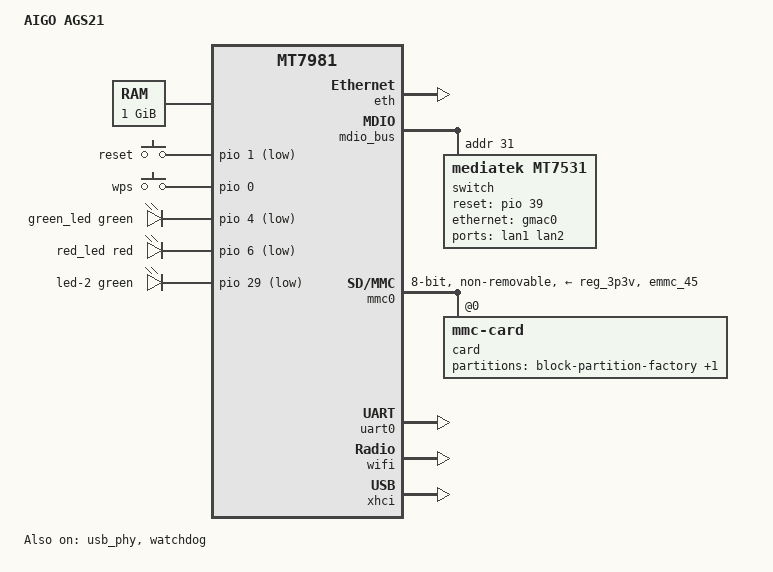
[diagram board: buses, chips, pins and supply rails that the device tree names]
// SPDX-License-Identifier: GPL-2.0-or-later OR MIT
/*
 * 爱国者 AIGO AGS21  (MT7981B + 1GB DDR4 + 64GB eMMC)
 *
 * 硬件数据全部来自实机提取，见 ags21_backup/dts/original_ags21.dts（688 行完整反编译）
 * 与实测串口日志 ags21_openwrt/serial_boot.log。
 *
 * 放置位置：target/linux/mediatek/dts/mt7981b-aigo-ags21.dts
 *
 * 设计说明 —— 为什么是「单 DTS」而不是 base + overlay：
 *   官方 RAX3000M 用 base dts + emmc/nand 两个 dtso，是因为同一份镜像要同时支持
 *   eMMC 和 SPI-NAND 两种启动介质，U-Boot 按 bootconf 选 overlay。
 *   AGS21 只有 eMMC 一种介质，所以这里把 mmc0 / 分区 / nvmem 全部写进主 dts，
 *   生成的 FIT 只有一个配置节点 config-1，少一层不确定性。
 *
 *   代价：U-Boot 环境变量 bootconf 必须相应改掉（详见 build/README.md）。
 *   官方镜像的 bootconf 是 "config-1#mt7981b-cmcc-rax3000m-emmc"，
 *   本设备要设成 "config-1"。
 */

/dts-v1/;

#include <dt-bindings/gpio/gpio.h>
#include <dt-bindings/input/input.h>
#include <dt-bindings/leds/common.h>
#include <dt-bindings/pinctrl/mt65xx.h>

#include "mt7981b.dtsi"

/ {
	model = "AIGO AGS21";
	compatible = "aigo,ags21", "mediatek,mt7981";

	aliases {
		led-boot = &red_led;
		led-failsafe = &red_led;
		led-running = &green_led;
		led-upgrade = &green_led;
		serial0 = &uart0;
	};

	chosen: chosen {
		bootargs-override = "root=/dev/fit0 rootwait";
		stdout-path = "serial0:115200n8";
		/* fitblk 只认这里指向的分区里装的 FIT；官方 emmc.dtso 里就是这一句 */
		rootdisk = <&emmc_rootdisk>;
	};

	memory@40000000 {
		device_type = "memory";
		/* 实机 1 GB DDR4。切勿照抄 RAX3000M 的 0x20000000(512MB) */
		reg = <0 0x40000000 0 0x40000000>;
	};

	gpio-keys {
		compatible = "gpio-keys";

		button-reset {
			label = "reset";
			linux,code = <KEY_RESTART>;
			/* 原厂 <&pio 1 GPIO_ACTIVE_LOW> */
			gpios = <&pio 1 GPIO_ACTIVE_LOW>;
		};

		button-wps {
			label = "wps";
			linux,code = <KEY_WPS_BUTTON>;
			/* 原厂 <&pio 0 (flags=0)> = ACTIVE_HIGH；
			 * 注意与 RAX3000M 的 mesh 键(GPIO_ACTIVE_LOW)极性相反 */
			gpios = <&pio 0 GPIO_ACTIVE_HIGH>;
		};
	};

	gpio-leds {
		compatible = "gpio-leds";

		/* 原厂三个灯全部 ACTIVE_LOW */
		green_led: led-0 {
			function = LED_FUNCTION_STATUS;
			color = <LED_COLOR_ID_GREEN>;
			gpios = <&pio 4 GPIO_ACTIVE_LOW>;
		};

		red_led: led-1 {
			function = LED_FUNCTION_STATUS;
			color = <LED_COLOR_ID_RED>;
			gpios = <&pio 6 GPIO_ACTIVE_LOW>;
			/* 原厂 default-state = "on"，正好当 boot 指示 */
			default-state = "on";
		};

		led-2 {
			function = LED_FUNCTION_WAN;
			color = <LED_COLOR_ID_GREEN>;
			gpios = <&pio 29 GPIO_ACTIVE_LOW>;
		};
	};
};

&eth {
	status = "okay";

	/* gmac0 -> MT7531 的 CPU 口，2500base-x 内部固定链路 */
	gmac0: mac@0 {
		compatible = "mediatek,eth-mac";
		reg = <0>;
		phy-mode = "2500base-x";
		nvmem-cells = <&macaddr_factory_2a 0>;
		nvmem-cell-names = "mac-address";

		fixed-link {
			speed = <2500>;
			full-duplex;
			pause;
		};
	};

	/* gmac1 -> SoC 内置 GbE PHY = WAN（同官方 RAX3000M）
	 *
	 * factory 分区实测布局（与官方 emmc.dtso 的 nvmem 映射一字不差，
	 * 所以换系统后 MAC 不会变随机）：
	 *   （本仓库是公开的，下面把 MAC 正文打码，只保留偏移与用途的对应关系；
	 *     dts 本身只引用 0x24 / 0x2a 两个偏移，不依赖这里的字面值。）
	 *   0x04 = xx:xx:xx:xx:xx:X2  机身标签
	 *   0x24 = xx:xx:xx:xx:xx:X0  WAN  -> gmac1
	 *   0x2a = xx:xx:xx:xx:xx:X1  LAN  -> gmac0
	 *   0x30 = xx:xx:xx:xx:xx:X3  5G
	 *   X0..X3 是厂商预置的连续四个 MAC（X0 为基准，就放在 0x24）：
	 *   机身标签 = X2、WAN = X0、LAN = X1、5G = X3。
	 *
	 * 这里刻意不写 openwrt,netdev-name，保持网卡名 eth0/eth1，
	 * 这样 02_network 可以直接写 "eth1" 当 wan（与官方一致）。
	 */
	gmac1: mac@1 {
		compatible = "mediatek,eth-mac";
		reg = <1>;
		phy-mode = "gmii";
		nvmem-cells = <&macaddr_factory_24 0>;
		nvmem-cell-names = "mac-address";
		phy-handle = <&int_gbe_phy>;
	};
};

&mdio_bus {
	switch: switch@1f {
		compatible = "mediatek,mt7531";
		reg = <31>;
		reset-gpios = <&pio 39 GPIO_ACTIVE_HIGH>;
		/* 原厂 DTS 未给 switch 配中断 -> AGS21 上 MT7531 的 INT 可能没接，
		 * 所以这里也刻意不声明 interrupt-controller，与厂商一致。
		 * 若实测 GPIO38 有中断，再补：
		 *   interrupt-controller;
		 *   #interrupt-cells = <1>;
		 *   interrupt-parent = <&pio>;
		 *   interrupts = <38 IRQ_TYPE_LEVEL_HIGH>;
		 */
	};
};

&switch {
	ports {
		#address-cells = <1>;
		#size-cells = <0>;

		/* 网口命名 —— 已实测定稿（2026-10-13）
		 *
		 * 机身只有 1 个 WAN + 2 个 LAN，面板丝印是 WAN / LAN1 / LAN2。
		 * 命名原则：网卡名对齐面板丝印。上游同芯片的 rax3000m 就是这么做的 ——
		 * 它的 dts 里 port@0/1/2 故意写成 lan3/lan2/lan1，说明「label 要和丝印对上」
		 * 才是约定，「label = PHY 号 + 1」不是。
		 *
		 *   * WAN  = gmac1 + SoC 内置 GbE PHY（mdio 地址 0），网卡名 eth1。
		 *     本机刻意不给 gmac1 加 label，保持 eth1，与官方 RAX3000M 一致。
		 *     （改名机制是 filogic 的 lib/preinit/04_set_netdev_label：给 gmac 节点
		 *      加 label 或 openwrt,netdev-name 就会 ip link set 改名，本机不用。）
		 *   * LAN1 = 面板 LAN1 = MT7531 PHY1 = 下面 port@1
		 *   * LAN2 = 面板 LAN2 = MT7531 PHY2 = 下面 port@2
		 *
		 * 实测证据（可复现）：
		 *   第一版固件的 label 是「reg + 1」（lan1..lan4 = PHY0..PHY3），
		 *   轮询 /sys/class/net 下各网口的 carrier 依次插线：
		 *     12:07 lan2(PHY1) 亮，12:08 lan3(PHY2) 亮，lan1(PHY0)/lan4(PHY3) 全程 0
		 *     dmesg: lan2 (uninitialized): PHY [mt7530-0:01]
		 *            lan3 (uninitialized): PHY [mt7530-0:02]
		 *   ⇒ 两个活口就是 MT7531 的 PHY1 / PHY2（DSA 用户口与 PHY 一一对应）。
		 *   再把网线插到面板 LAN1 口（当时 label 还是 lan2/lan3）：
		 *     亮起的是 lan2 = PHY1  →  面板 LAN1 就是 PHY1
		 *     dmesg: mdio-bus:1f lan2: Link is Up - 10Mbps/Full → 1Gbps/Full
		 *   ⇒ 面板 LAN1/LAN2 与 PHY1/PHY2 同序 ⇒ 是「整体减一」的改名，不是对调。
		 *
		 * 两个坑，别再踩：
		 *   1. 原厂 /etc/board.d/02_network 兜底分支写的是 "lan4 lan3 lan2" + iptv_port，
		 *      那是 MTK 参考板（mediatek,mt7981-emmc-rfb）的通用值，照抄会把不存在
		 *      的口桥进 br-lan。本机的对口定义在 build/build-ags21.sh 的 02_network
		 *      补丁里，改名时两边必须一起改。
		 *      另外 /etc/config/network 只在「不存在或为空」时由 board.d 生成
		 *      （见 bin/config_generate 末尾的 if [ ! -s /etc/config/network ]），
		 *      所以升级时保留下来的 ports='lan2' 'lan3' 不会自动跟着改名，
		 *      由随固件带的 /etc/uci-defaults/99-ags21-port-rename 迁移。
		 *   2. mdio 总线上只有 mt7530-0:00..03 四个 PHY，没有 2.5G PHY 芯片 ——
		 *      官方 RAX3000M 那颗 airoha,an8855 在本机不存在，所以本机没有 2.5G 口。
		 */
		port@1 {
			reg = <1>;
			label = "lan1";
		};

		port@2 {
			reg = <2>;
			label = "lan2";
		};

		/* CPU 口 */
		port@6 {
			reg = <6>;
			ethernet = <&gmac0>;
			phy-mode = "2500base-x";

			fixed-link {
				speed = <2500>;
				full-duplex;
				pause;
			};
		};
	};
};

&mmc0 {
	#address-cells = <1>;
	#size-cells = <0>;
	bus-width = <8>;
	/* 第一版固件沿用官方 RAX3000M 的保守值，先保证一定能起来。
	 * 原厂 dts 用的是 0x632EA00 = 104 MHz（配 cap-mmc-highspeed +
	 * mmc-hs200-1_8v + 自己的 drive-strength/pull-up 引脚配置）。
	 * 等第一版启动验证通过，再把这里改成 104000000 复测。
	 */
	max-frequency = <26000000>;
	no-sd;
	no-sdio;
	non-removable;
	pinctrl-names = "default", "state_uhs";
	pinctrl-0 = <&mmc0_pins_default>;
	pinctrl-1 = <&mmc0_pins_uhs>;
	/* 这一行不能少！
	 * 缺了它 mtk-sd 就用驱动里那套默认 ocr_avail(2.8~3.3V)，而 eMMC 报的是
	 * 3.3~3.4V，mmc_select_voltage() 交集为空 -> 内核直接打
	 *   mtk-msdc 11230000.mmc: no support for card's volts
	 *   mmc0: error -22 whilst initialising MMC card
	 *   mmc0: Failed to initialize a non-removable card
	 * 然后 rootfs 永远挂不上（Waiting for root device /dev/fit0）。
	 * 第一版固件就是漏了这行，实机实测到上述报错。官方 emmc.dtso 的
	 * fragment@3 里同样有 vmmc-supply = <&reg_3p3v>。
	 * reg_3p3v 由补丁 117 的 mt7981b.dtsi 提供（3.3V fixed regulator）。
	 */
	vmmc-supply = <&reg_3p3v>;
	status = "okay";

	card@0 {
		compatible = "mmc-card";
		reg = <0>;

		block {
			compatible = "block-device";

			partitions {
				/* WiFi 校准 EEPROM：实机位于 factory 分区偏移 0，
				 * 首 4 字节 81 79 00 00 = 小端 0x00007981 = MT7981，
				 * 标准 MTK EEPROM 头。位置与 RAX3000M 完全相同，
				 * 所以换 mt76 驱动后 WiFi 能直接跑，不用改 EEPROM 来源。
				 */
				block-partition-factory {
					partname = "factory";

					nvmem-layout {
						compatible = "fixed-layout";
						#address-cells = <1>;
						#size-cells = <1>;

						eeprom_factory_0: eeprom@0 {
							reg = <0x0 0x1000>;
						};

						macaddr_factory_24: macaddr@24 {
							compatible = "mac-base";
							reg = <0x24 0x6>;
							#nvmem-cell-cells = <1>;
						};

						macaddr_factory_2a: macaddr@2a {
							compatible = "mac-base";
							reg = <0x2a 0x6>;
							#nvmem-cell-cells = <1>;
						};
					};
				};

				/* 内核把 /dev/fit0 映射到这个分区里装的 FIT */
				emmc_rootdisk: block-partition-production {
					partname = "production";
				};
			};
		};
	};
};

&pio {
	mmc0_pins_default: mmc0-pins {
		mux {
			function = "flash";
			groups = "emmc_45";
		};
	};

	mmc0_pins_uhs: mmc0-uhs-pins {
		mux {
			function = "flash";
			groups = "emmc_45";
		};
	};
};

&uart0 {
	status = "okay";
};

&usb_phy {
	status = "okay";
};

&watchdog {
	status = "okay";
};

&wifi {
	status = "okay";
	nvmem-cells = <&eeprom_factory_0>;
	nvmem-cell-names = "eeprom";
};

&xhci {
	status = "okay";
};

/* ------------------------------------------------------------------
 * 待实测确认后调整的项（都不影响第一版能否启动）
 *
 * 1. LAN 口：**已定稿** —— 只留 port@1(lan2) / port@2(lan3)，两个口都插线实测过
 *    （证据见上面 &switch 节点的注释）。
 * 2. eMMC 频率：26000000 -> 104000000（原厂值），并考虑补上原厂的
 *    drive-strength / pull-up 引脚配置（conf-cmd-dat / conf-clk / conf-rst）。
 * 3. MT7531 中断：确认 GPIO38 是否已焊，决定是否启用 interrupt-controller。
 * 4. 可选：把 production 分区从 448 MiB 放大，用上尾部闲置的约 57 GB
 *    （官方 GPT 的 LastUsable 只到 LBA 1048575 = 512 MiB）。
 * ------------------------------------------------------------------ */
